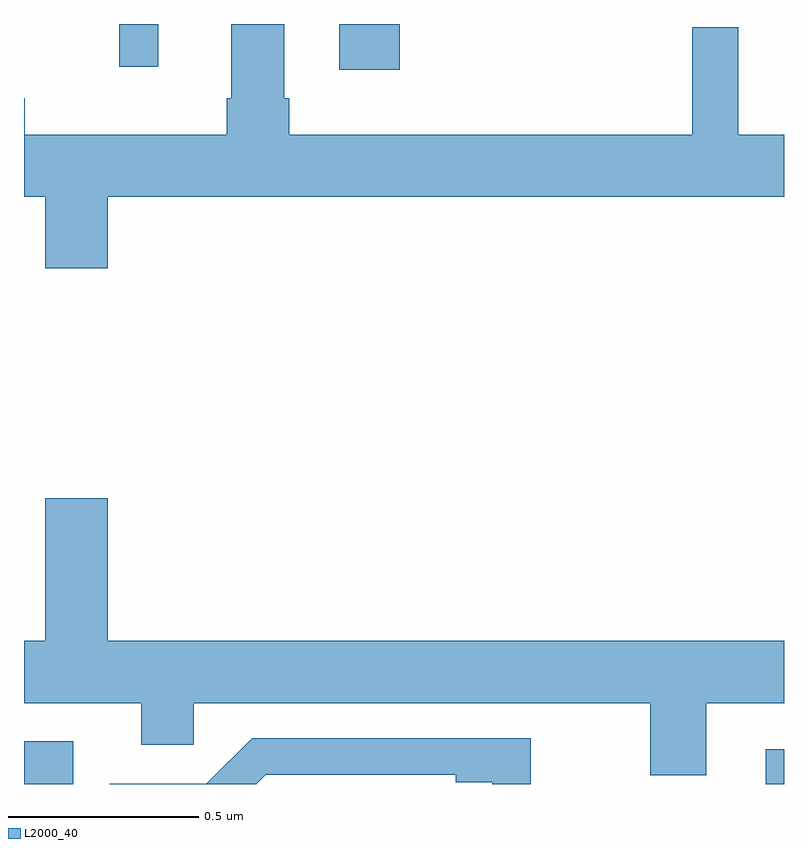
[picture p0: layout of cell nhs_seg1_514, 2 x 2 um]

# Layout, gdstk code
import gdstk
lib = gdstk.Library(unit=1e-6, precision=1e-09)
def R(c, l, rs):  # rectangles x0, y0, x1, y1
    for r in rs: c.add(gdstk.rectangle(r[:2], r[2:], *l))
def P(c, l, *ps):  # polygons
    for p in ps: c.add(gdstk.Polygon(p, *l))
L2000_40 = (2000, 40)

nhs_seg1_514 = lib.new_cell('nhs_seg1_514')
R(nhs_seg1_514, L2000_40, [(117,538.199,117.13,538.312), (118.952,538.199,119,538.291), (117.83,540.078,117.989,540.199), (117.25,540.087,117.353,540.199)])
P(nhs_seg1_514, L2000_40, [(117.22,539.744),(119,539.744),(119,539.908),(118.879,539.908),(118.879,540.19),(118.758,540.19),(118.758,539.908),(117.698,539.908),(117.698,540.004),(117.685,540.004),(117.685,540.199),(117.545,540.199),(117.545,540.004),(117.533,540.004),(117.533,539.908),(117.002,539.908),(117.002,540.004),(117,540.004),(117,539.744),(117.056,539.744),(117.056,539.556),(117.22,539.556)],
  [(118.795,538.412),(119,538.412),(119,538.576),(117.22,538.576),(117.22,538.951),(117.056,538.951),(117.056,538.576),(117,538.576),(117,538.412),(117.308,538.412),(117.308,538.302),(117.447,538.302),(117.447,538.412),(118.648,538.412),(118.648,538.222),(118.795,538.222)],
  [(117.636,538.224),(118.136,538.224),(118.136,538.204),(118.232,538.204),(118.232,538.199),(118.334,538.199),(118.334,538.32),(117.6,538.32),(117.48,538.2),(117.225,538.2),(117.225,538.199),(117.611,538.199)])

lib.write_gds('nhs_seg1_514.gds')
